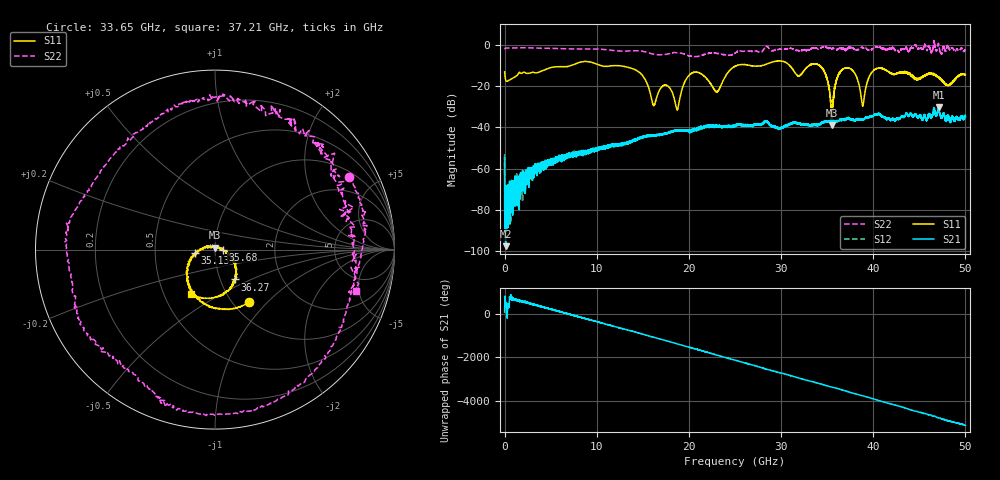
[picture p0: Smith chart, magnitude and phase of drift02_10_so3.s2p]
!Created with skrf (http://scikit-rf.org).
# Hz S RI R 50.0
!freq ReS11 ImS11 ReS21 ImS21 ReS12 ImS12 ReS22 ImS22
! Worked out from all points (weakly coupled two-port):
!   10001 points, 300 kHz to 50 GHz, reference 50 ohm
!   highest |S21| = -30.10 dB at 47.09 GHz (marker M1); lowest = -97.6 dB at 115.3 MHz (marker M2)
!   lowest |S11| = -38.9 dB at 35.51 GHz (marker M3), VSWR 1.02, Z = 49.9 + j1.14 ohm
!   |S11| at or under -10 dB: start of sweep to 7.176 GHz; 12.34 GHz to 25.16 GHz (12.83 GHz wide, 68.4 % of centre); 34.2 GHz to end of sweep (the widest 3 of 14)
!   |S22| runs from -5.7 to 2.2 dB; largest |S21 - S12| = 0.0032
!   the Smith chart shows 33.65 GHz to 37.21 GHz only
!   S11 on the Smith chart (normalised r, x): 33.65 GHz: 1.18, -0.79; 35.13 GHz: 0.80, -0.03; 35.68 GHz: 1.09, +0.00; 36.27 GHz: 1.18, -0.41; 37.21 GHz: 0.69, -0.37
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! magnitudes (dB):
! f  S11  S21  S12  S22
! 300 kHz  -13.0  -54.8  -52.9  -2.1
! 115.3 MHz  -17.0  -97.6  -77.6  -1.5
! 8.335 GHz  -8.2  -52.5  -52.8  -1.9
! 14.02 GHz  -11.7  -46.5  -46.6  -2.8
! 16.14 GHz  -29.3  -43.8  -43.7  -4.4
! 16.67 GHz  -23.2  -43.5  -43.7  -4.7
! 18.74 GHz  -31.4  -41.3  -41.6  -3.7
! 20.25 GHz  -13.8  -41.4  -41.4  -5.4
! 23.02 GHz  -22.8  -38.9  -39.3  -4.1
! 25 GHz  -10.3  -38.9  -39.1  -3.9
! 33.34 GHz  -9.3  -38.9  -38.9  -1.6
! 33.65 GHz  -9.1  -38.9  -38.4  -1.4
! 35.13 GHz  -18.8  -37.4  -37.3  -1.6
! 35.51 GHz  -38.9  -36.8  -37.0  -1.7
! 35.68 GHz  -27.5  -37.0  -36.7  -1.6
! 36.27 GHz  -14.0  -36.6  -36.3  -1.5
! 37.21 GHz  -11.0  -35.5  -35.6  -1.7
! 38.86 GHz  -29.7  -36.1  -36.1  -1.3
! 39.96 GHz  -12.7  -34.3  -34.4  -1.9
! 41.67 GHz  -13.0  -35.3  -35.6  -1.9
! 47.09 GHz  -15.8  -30.1  -30.4  0.7
! 50 GHz  -14.5  -35.0  -34.7  -2.7
